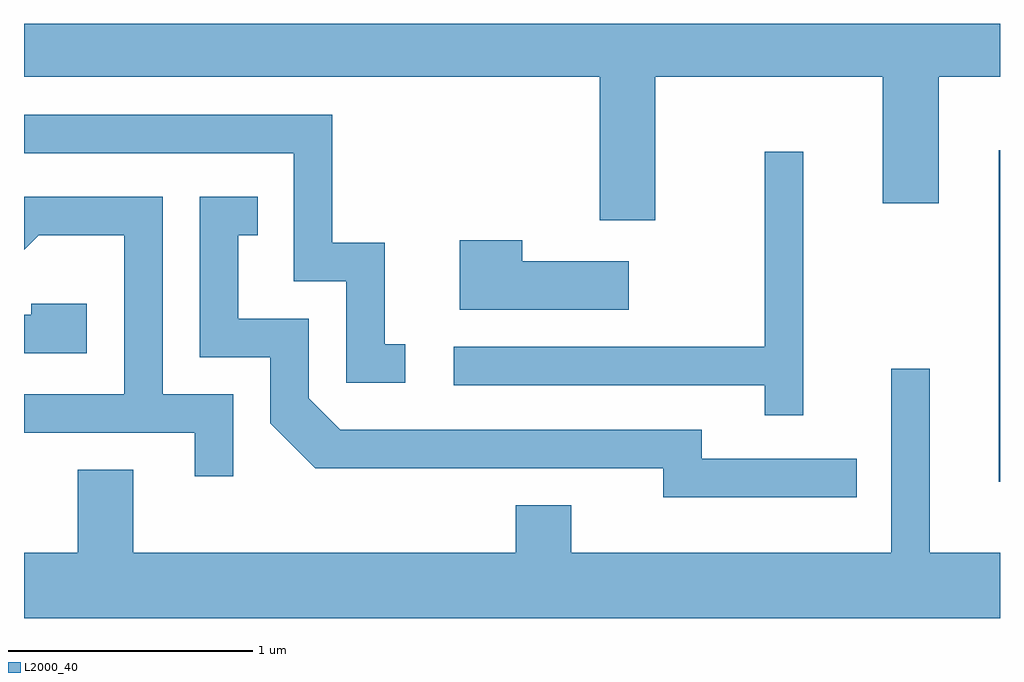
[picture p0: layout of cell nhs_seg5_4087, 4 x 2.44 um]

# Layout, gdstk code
import gdstk
lib = gdstk.Library(unit=1e-6, precision=1e-09)
def R(c, l, rs):  # rectangles x0, y0, x1, y1
    for r in rs: c.add(gdstk.rectangle(r[:2], r[2:], *l))
def P(c, l, *ps):  # polygons
    for p in ps: c.add(gdstk.Polygon(p, *l))
L2000_40 = (2000, 40)

nhs_seg5_4087 = lib.new_cell('nhs_seg5_4087')
R(nhs_seg5_4087, L2000_40, [(309.606,1506.196,309.611,1507.554)])
P(nhs_seg5_4087, L2000_40, [(308.199,1507.856),(309.131,1507.856),(309.131,1507.336),(309.359,1507.336),(309.359,1507.856),(309.611,1507.856),(309.611,1508.072),(305.611,1508.072),(305.611,1507.856),(307.971,1507.856),(307.971,1507.266),(308.199,1507.266)],
  [(307.173,1506.759),(307.089,1506.759),(307.089,1507.174),(306.874,1507.174),(306.874,1507.699),(305.611,1507.699),(305.611,1507.541),(306.716,1507.541),(306.716,1507.016),(306.931,1507.016),(306.931,1506.601),(307.173,1506.601)],
  [(308.804,1507.548),(308.646,1507.548),(308.646,1506.749),(307.373,1506.749),(307.373,1506.591),(308.646,1506.591),(308.646,1506.468),(308.804,1506.468)],
  [(309.023,1506.289),(308.389,1506.289),(308.389,1506.409),(306.907,1506.409),(306.779,1506.537),(306.779,1506.864),(306.489,1506.864),(306.489,1507.206),(306.568,1507.206),(306.568,1507.364),(306.331,1507.364),(306.331,1506.706),(306.621,1506.706),(306.621,1506.434),(306.804,1506.251),(308.231,1506.251),(308.231,1506.131),(309.023,1506.131)],
  [(306.469,1506.554),(306.179,1506.554),(306.179,1507.364),(305.611,1507.364),(305.611,1507.145),(305.672,1507.206),(306.021,1507.206),(306.021,1506.554),(305.611,1506.554),(305.611,1506.396),(306.311,1506.396),(306.311,1506.218),(306.469,1506.218)],
  [(308.089,1507.099),(307.654,1507.099),(307.654,1507.184),(307.396,1507.184),(307.396,1506.901),(308.089,1506.901)],
  [(305.869,1506.924),(305.641,1506.924),(305.641,1506.879),(305.611,1506.879),(305.611,1506.721),(305.869,1506.721)],
  [(309.611,1505.904),(309.324,1505.904),(309.324,1506.658),(309.166,1506.658),(309.166,1505.904),(307.854,1505.904),(307.854,1506.099),(307.626,1506.099),(307.626,1505.904),(306.059,1505.904),(306.059,1506.244),(305.831,1506.244),(305.831,1505.904),(305.611,1505.904),(305.611,1505.636),(309.611,1505.636)])

lib.write_gds('nhs_seg5_4087.gds')
